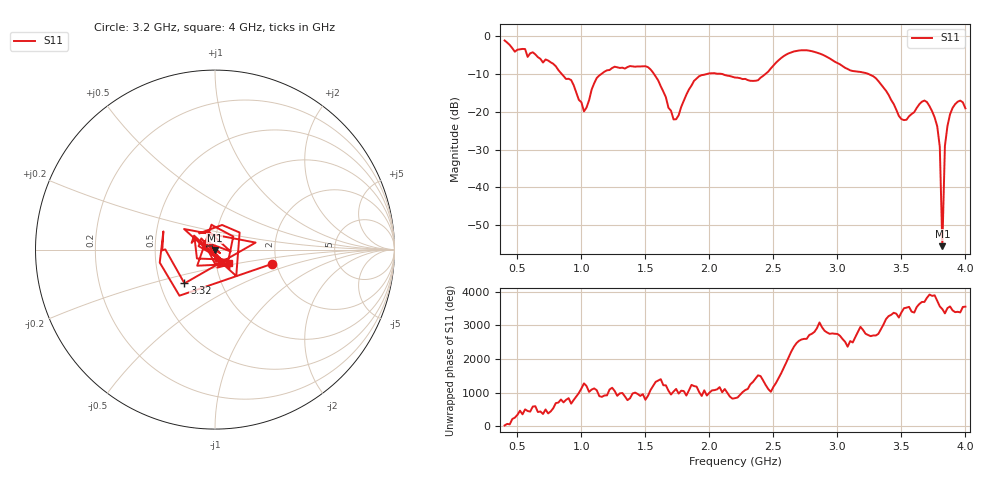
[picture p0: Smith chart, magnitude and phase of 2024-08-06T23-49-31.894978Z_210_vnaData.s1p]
!Created with skrf (http://scikit-rf.org).
# Hz S RI R 50.0
!freq ReS11 ImS11
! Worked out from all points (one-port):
!   181 points, 400 MHz to 4 GHz, reference 50 ohm
!   lowest |S11| = -55.5 dB at 3.82 GHz (marker M1), VSWR 1.00, Z = 49.9 - j0.15 ohm
!   |S11| at or under -10 dB: 1.566 GHz to 1.986 GHz (420 MHz wide, 23.6 % of centre); 2.088 GHz to 2.44 GHz (351.5 MHz wide, 15.5 % of centre); 3.24 GHz to end of sweep (the widest 3 of 4)
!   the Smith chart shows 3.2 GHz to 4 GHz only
!   S11 on the Smith chart (normalised r, x): 3.2 GHz: 1.90, -0.34; 3.32 GHz: 0.67, -0.27; 4 GHz: 1.16, -0.18
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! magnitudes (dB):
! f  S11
! 400 MHz  -1.2
! 860 MHz  -10.6
! 920 MHz  -11.6
! 1.02 GHz  -19.9
! 1.12 GHz  -11.1
! 1.3 GHz  -8.4
! 1.52 GHz  -8.2
! 1.6 GHz  -11.7
! 1.72 GHz  -22.0
! 1.76 GHz  -20.9
! 1.92 GHz  -10.6
! 2.2 GHz  -11.0
! 2.38 GHz  -11.7
! 2.66 GHz  -4.1
! 2.86 GHz  -4.6
! 3.1 GHz  -9.1
! 3.2 GHz  -9.7
! 3.32 GHz  -11.9
! 3.5 GHz  -22.0
! 3.56 GHz  -21.2
! 3.68 GHz  -17.0
! 3.78 GHz  -23.9
! 3.8 GHz  -29.3
! 3.82 GHz  -55.5
! 3.84 GHz  -29.0
! 3.86 GHz  -23.8
! 3.92 GHz  -18.0
! 4 GHz  -19.1
